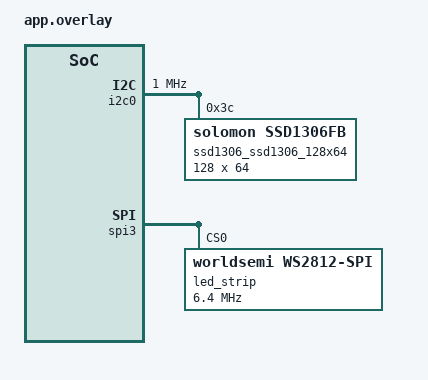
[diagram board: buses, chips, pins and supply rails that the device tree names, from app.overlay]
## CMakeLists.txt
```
# SPDX-License-Identifier: Apache-2.0

cmake_minimum_required(VERSION 3.20.0)
find_package(Zephyr REQUIRED HINTS $ENV{ZEPHYR_BASE})
project(esp32s3-zephyr)

target_sources(app PRIVATE src/main.c src/led.c src/display.c)
zephyr_include_directories(./include)
```

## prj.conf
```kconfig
#zephyr v3.7.0-rc1-242-ge5c05da9cbda
CONFIG_ESP_SPIRAM=y
CONFIG_ESP_HEAP_MIN_EXTRAM_THRESHOLD=2048
CONFIG_HEAP_MEM_POOL_SIZE=98304
CONFIG_ESP_HEAP_SEARCH_ALL_REGIONS=n
CONFIG_NEWLIB_LIBC=y
CONFIG_THREAD_NAME=y
CONFIG_DEVICE_DT_METADATA=y
CONFIG_I2C=y
CONFIG_LOG=y
CONFIG_STDOUT_CONSOLE=y
CONFIG_SSD1306=y
CONFIG_DISPLAY=y
CONFIG_CHARACTER_FRAMEBUFFER=y
CONFIG_LED_STRIP=y
```

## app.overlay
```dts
#include <zephyr/dt-bindings/led/led.h>

/ {
	chosen {
		zephyr,display = &ssd1306_ssd1306_128x64;
	};
	aliases {
		rgb-led = &led_strip;
	};
};


&i2c0 {
	clock-frequency = <I2C_BITRATE_FAST_PLUS>;
	pinctrl-0 = <&i2c0_default>;
	pinctrl-names = "default";
	status = "okay";
	ssd1306_ssd1306_128x64: ssd1306@3c {
		compatible = "solomon,ssd1306fb";
		reg = <0x3c>;
		width = <128>;
		height = <64>;
		segment-offset = <0>;
		page-offset = <0>;
		display-offset = <0>;
		multiplex-ratio = <63>;
		segment-remap;
		com-invdir;
		prechargep = <0x22>;
		ready-time-ms = < 250 >;
	};
};


&spi3 {
	/* Workaround to support WS2812 driver */
	line-idle-low;

        led_strip: ws2812@0 {
                compatible = "worldsemi,ws2812-spi";

                /* SPI */
                reg = <0>; /* ignored, but necessary for SPI bindings */
                spi-max-frequency = <6400000>;

                /* WS2812 */
                chain-length = <1>; /* arbitrary; change at will */
                spi-cpha;
                spi-one-frame = <0xf0>; /* 11110000: 625 ns high and 625 ns low */
                spi-zero-frame = <0xc0>; /* 11000000: 312.5 ns high and 937.5 ns low */
                color-mapping = <LED_COLOR_ID_GREEN
                                 LED_COLOR_ID_RED
                                 LED_COLOR_ID_BLUE>;
        };
};

&pinctrl {
	spim3_default: spim3_default {
		group2 {
			pinmux = <SPIM3_MOSI_GPIO48>;
		};
	};
};
```

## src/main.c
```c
#include "tasks_common.h"
#include <stdbool.h>
#include <string.h>
#include <time.h>

#include <zephyr/kernel.h>
#include <zephyr/logging/log.h>
#include <zephyr/sys/printk.h>
#include <zephyr/sys/util.h>

LOG_MODULE_REGISTER(main);

K_THREAD_DEFINE(led_task_p, 1024, led_task, NULL, NULL, NULL, 5, 0, 0);
K_THREAD_DEFINE(display_task_p, 1024, display_task, NULL, NULL, NULL, 5, 0, 0);

int main(void) {
  k_thread_name_set(led_task_p, "led_task");
  k_thread_name_set(display_task_p, "display_task");
  LOG_INF("start join other tasks!\n");
  k_thread_join(led_task_p, K_NO_WAIT);
  k_thread_join(display_task_p, K_NO_WAIT);
  return 0;
}
```

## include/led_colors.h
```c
#ifndef __LED_COLORS__
#define __LED_COLORS__
#include "zephyr/drivers/led_strip.h"
#include <stdint.h>

typedef struct {
   uint8_t hue;
    uint8_t sat;
   uint8_t val;
} led_hsv;

typedef struct led_rgb led_rgb;

void hsv2rgb(led_hsv *hsv, led_rgb *rgb);
#endif //__LED_COLORS__
```

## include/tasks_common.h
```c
#ifndef __TASK_COMMON__
#define __TASK_COMMON__
#include <zephyr/device.h>
#include <zephyr/display/cfb.h>
#include <zephyr/drivers/display.h>
#include <zephyr/drivers/gpio.h>
#include <zephyr/drivers/i2c.h>
#include <zephyr/drivers/led_strip.h>
#include <zephyr/drivers/spi.h>
#include <zephyr/kernel.h>
#include <zephyr/sys/util.h>
#include <zephyr/logging/log.h>


void led_task(void *args, void *arg1, void *arg2);
int display_task(void *args, void *arg1, void *arg2);
#define CURRENT_NAME() k_thread_name_get(k_current_get())

#endif //__TASK_COMMON__
```

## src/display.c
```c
#include "tasks_common.h"

LOG_MODULE_REGISTER(display_task);

int display_task(void *args, void *arg1, void *arg2) {
  const struct device *display_dev = DEVICE_DT_GET(DT_CHOSEN(zephyr_display));
  uint16_t width;
  uint16_t heigh;
  if (!device_is_ready(display_dev)) {
    LOG_ERR("Device not ready, aborting test");
    return 0;
  }
  display_set_orientation(display_dev, DISPLAY_ORIENTATION_NORMAL);
  if (display_set_pixel_format(display_dev, PIXEL_FORMAT_MONO10) != 0) {
    LOG_ERR("Failed to set required pixel format");
    return 0;
  }
  LOG_INF("Initialized %s\n", display_dev->name);

  if (cfb_framebuffer_init(display_dev)) {
    LOG_ERR("Framebuffer initialization failed!\n");
    return 0;
  }
  width = cfb_get_display_parameter(display_dev, CFB_DISPLAY_WIDTH);
  heigh = cfb_get_display_parameter(display_dev, CFB_DISPLAY_HEIGH);
  cfb_framebuffer_clear(display_dev, true);
  display_blanking_off(display_dev);
  uint8_t font_width = 0, font_heigh = 0;
  LOG_INF("width: %d, heigh: %d\n", width, heigh);
  for (int idx = 0; idx < 42; idx++) {
    if (cfb_get_font_size(display_dev, idx, &font_width, &font_heigh) == 0) {
      cfb_framebuffer_set_font(display_dev, idx);
      LOG_INF("idx: %d,font_width: %d, font_heigh: %d\n", idx, font_width,
             font_heigh);
      break;
    }
  }
  const struct cfb_position start = {.x = 0, .y = 0};
  const struct cfb_position end = {.x = width - 1, .y = heigh - 1};
  uint16_t x = 0, y = 0;
  int16_t x_p = 1, y_p = 1;
  const char *text = "zephyr";
  uint16_t text_width = strlen(text) * font_width, text_heigh = font_heigh;
  const char *task_name = CURRENT_NAME();
  for (;;) {
    if (x >= width - text_width)
      x_p = -1;
    if (y >= heigh - text_heigh)
      y_p = -1;
    if (x <= 0)
      x_p = 1;
    if (y <= 0)
      y_p = 1;
    cfb_framebuffer_clear(display_dev, true);
    cfb_draw_rect(display_dev, &start, &end);
    cfb_draw_text(display_dev, text, x, y);
    cfb_framebuffer_finalize(display_dev);
    x += x_p;
    y += y_p;
    if (y == 0) LOG_INF("task: %s is running!\n", task_name);
    k_msleep(10);
  }
  return 0;
}
```

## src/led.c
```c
#include "led_colors.h"
#include "tasks_common.h"
#include <stdint.h>

LOG_MODULE_REGISTER(led_task);

#define LOG_LEVEL 7
#define STRIP_NODE DT_ALIAS(rgb_led)

#if DT_NODE_HAS_PROP(DT_ALIAS(rgb_led), chain_length)
#define STRIP_NUM_PIXELS DT_PROP(DT_ALIAS(rgb_led), chain_length)
#else
#error Unable to determine length of LED strip
#endif

#define DELAY_TIME K_MSEC(CONFIG_SAMPLE_LED_UPDATE_DELAY)


static const struct device *const strip = DEVICE_DT_GET(STRIP_NODE);

void led_task(void *args, void *arg1, void *arg2) {
  int rc;
  if (device_is_ready(strip)) {
    LOG_INF("Found LED strip device %s", strip->name);
  } else {
    LOG_ERR("LED strip device %s is not ready", strip->name);
    return;
  }
  const char *task_name = CURRENT_NAME();
  led_rgb pixel = {0};
  led_hsv hsv ={.hue = 0, .sat = 0xff, .val = 0xa};
  while (1) {
    for (hsv.hue = 0; hsv.hue < UINT8_MAX; hsv.hue++) {
      hsv2rgb(&hsv, &pixel);
      if ((rc = led_strip_update_rgb(strip, &pixel, 1)))
      {
        LOG_ERR("couldn't update strip: %d", rc);
      }
      k_msleep(10);
    }
    LOG_INF("task: %s is running! \n", task_name);
  }
  return;
}

void hsv2rgb(led_hsv *hsv, led_rgb *rgb) {
  uint16_t v = hsv->val;
  uint16_t s = hsv->sat;
  uint16_t f = (hsv->hue * 2 % 85) * 3;

  uint16_t p = v * (255 - s) / 255;
  uint16_t q = v * (255 - (s * f) / 255) / 255;
  uint16_t t = v * (255 - (s * (255 - f)) / 255) / 255;
  switch (hsv->hue) {
  case 0 ... 42:
    rgb->r = v;
    rgb->g = t;
    rgb->b = p;
    break;
  case 43 ... 84:
    rgb->r = q;
    rgb->g = v;
    rgb->b = p;
    break;
  case 85 ... 127:
    rgb->r = p;
    rgb->g = v;
    rgb->b = t;
    break;
  case 128 ... 169:
    rgb->r = p;
    rgb->g = q;
    rgb->b = v;
    break;
  case 170 ... 212:
    rgb->r = t;
    rgb->g = p;
    rgb->b = v;
    break;
  case 213 ... 254:
    rgb->r = v;
    rgb->g = p;
    rgb->b = q;
    break;
  case 255:
    rgb->r = v;
    rgb->g = t;
    rgb->b = p;
    break;
  }
}
```
